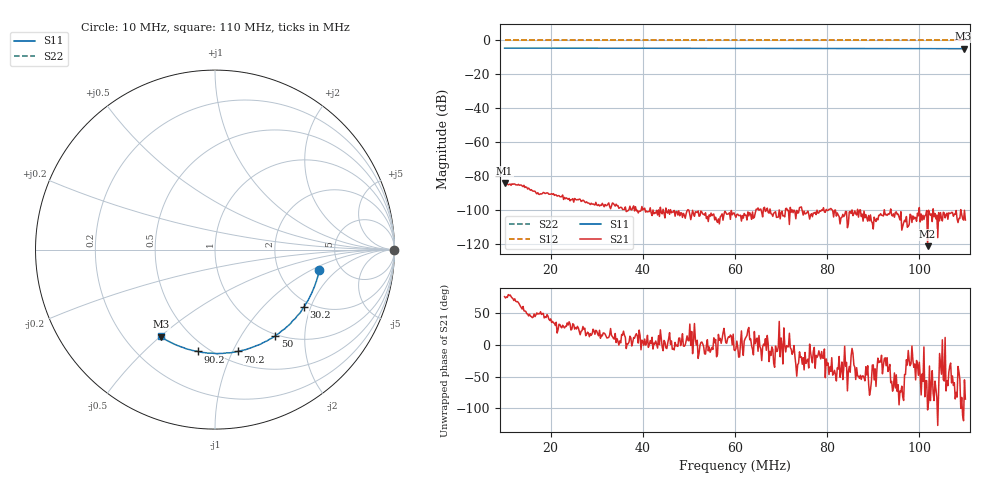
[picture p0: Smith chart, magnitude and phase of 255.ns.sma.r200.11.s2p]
! Anritsu VNA Master:  Model: MS2036C/10/77
! SN:  1601066
! /card0/usr/255.ns.sma.r200.11.s2p
! Existing Calibration Information:
! TYPE:  Current Settings,  Active Cal Settings
! TIME:  12/19/2017 07:06:22 PM,  12/19/2017 06:59:48 PM
! INTERNAL TEMP:  39.8 C,  39.3 C
! # POINTS:  501,  501
! START FREQ:  10.000 MHz,  10.000 MHz
! STOP FREQ:  110.000 MHz,  110.000 MHz
! SOURCE POWER:  High,  High
! IFBW:  100 Hz,  100 Hz
! AVG FACTOR:  1 ,  1
! REF PLANE 1:  0 mm,  0 mm
! REF PLANE 2:  0 mm,  0 mm
! CAL TYPE:  Full S11,  Full S11
! CAL METHOD:  SOLT,  SOLT
! CAL LINE TYPE:  Coax,  Coax
! DUT PORT 1:  N-Conn(F),  N-Conn(F)
! DUT PORT 2:  K-Conn(F),  K-Conn(F)
! CAL STATUS:  OK: Accuracy High,  --
# GHZ S DB R 50.0
! FREQ.GHZ  S11DB  S11A  S21DB  S21A  S12DB  S12A  S22DB  S22A
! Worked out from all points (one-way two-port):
!   501 points, 10 MHz to 110 MHz, reference 50 ohm
!   highest |S21| = -84.15 dB at 10 MHz (marker M1); lowest = -121.4 dB at 101.8 MHz (marker M2)
!   lowest |S11| = -4.9 dB at 109.6 MHz (marker M3), VSWR 3.66, Z = 17.5 - j25.2 ohm
!   |S11| at or under -10 dB: nowhere
!   |S22| runs from 0.0 to 0.0 dB; largest |S21 - S12| = 1
!   S11 on the Smith chart (normalised r, x): 10 MHz: 3.46, -1.19; 30.2 MHz: 1.82, -1.78; 50 MHz: 0.98, -1.43; 70.2 MHz: 0.61, -1.05; 90.2 MHz: 0.44, -0.74; 110 MHz: 0.35, -0.50
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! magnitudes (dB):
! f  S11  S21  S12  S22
! 10 MHz  -4.6  -84.2  0.0  0.0
! 26.8 MHz  -4.6  -94.8  0.0  0.0
! 30.2 MHz  -4.6  -97.4  0.0  0.0
! 33 MHz  -4.6  -99.3  0.0  0.0
! 35.4 MHz  -4.6  -98.6  0.0  0.0
! 37.2 MHz  -4.6  -97.8  0.0  0.0
! 38.6 MHz  -4.6  -100.6  0.0  0.0
! 40.4 MHz  -4.6  -99.0  0.0  0.0
! 43.4 MHz  -4.6  -100.0  0.0  0.0
! 46 MHz  -4.6  -99.9  0.0  0.0
! 50 MHz  -4.6  -100.3  0.0  0.0
! 51.4 MHz  -4.6  -101.1  0.0  0.0
! 53.2 MHz  -4.7  -102.5  0.0  0.0
! 60 MHz  -4.7  -103.3  0.0  0.0
! 70.2 MHz  -4.7  -100.8  0.0  0.0
! 76.8 MHz  -4.7  -104.0  0.0  0.0
! 88 MHz  -4.8  -100.7  0.0  0.0
! 90.2 MHz  -4.8  -104.3  0.0  0.0
! 93.4 MHz  -4.8  -102.7  0.0  0.0
! 101.8 MHz  -4.8  -121.4  0.0  0.0
! 109.6 MHz  -4.9  -106.0  0.0  0.0
! 110 MHz  -4.9  -106.0  0.0  0.0
